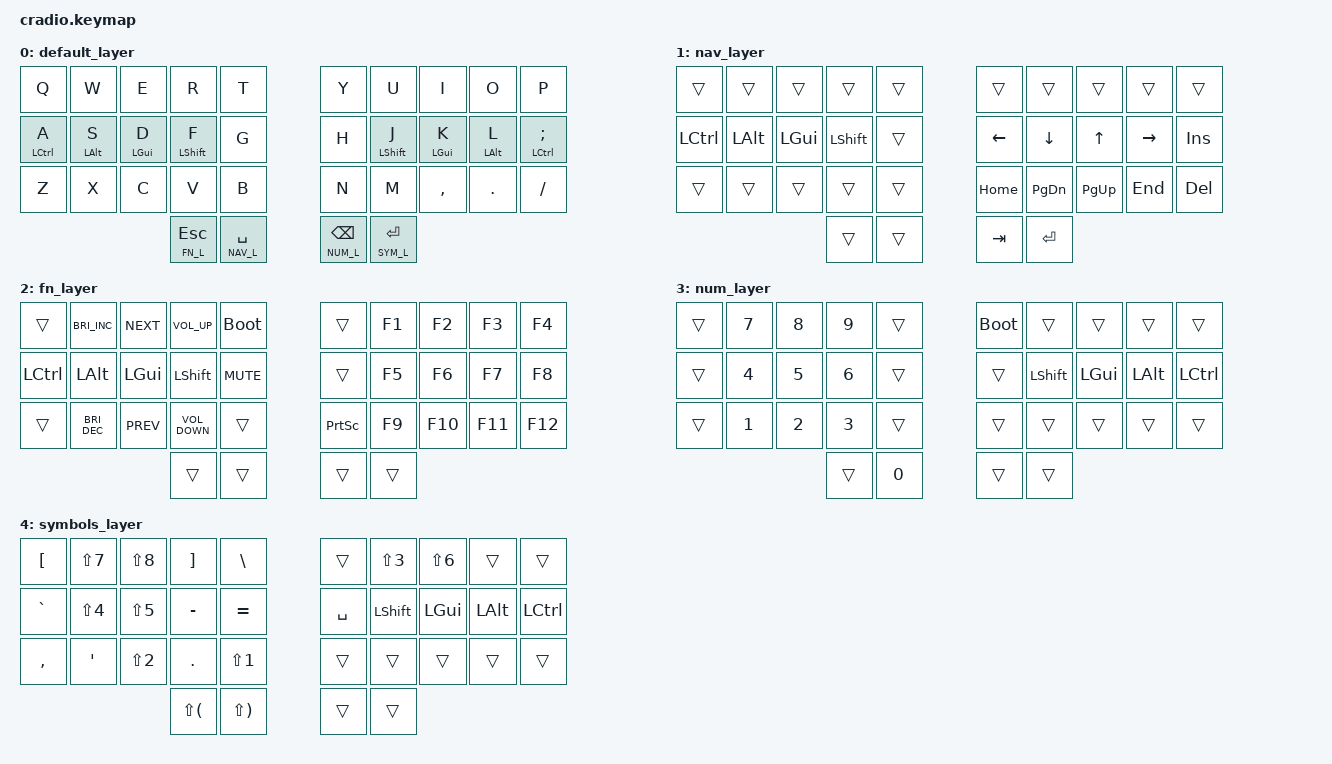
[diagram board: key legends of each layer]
// Copyright (c) 2022 The ZMK Contributors
// SPDX-License-Identifier: MIT

#include <behaviors.dtsi>
#include <dt-bindings/zmk/keys.h>

// Home row mods macro

#define NAV_L 1
#define FN_L 2
#define NUM_L 3
#define SYM_L 4

/ {
    behaviors {
        hm: homerow_mods {
            compatible = "zmk,behavior-hold-tap";
            #binding-cells = <2>;
            tapping-term-ms = <220>;
            flavor = "tap-preferred";
            bindings = <&kp>, <&kp>;
        };
    };

    combos {
        compatible = "zmk,combos";

        ye {
            bindings = <&kp SQT>;
            key-positions = <1 2>;
            timeout-ms = <40>;
            layers = <0>;
        };

        yo {
            bindings = <&kp GRAVE>;
            key-positions = <0 1>;
            layers = <0>;
            timeout-ms = <40>;
        };

        h {
            bindings = <&kp LEFT_BRACKET>;
            key-positions = <7 8>;
            timeout-ms = <40>;
            layers = <0>;
        };

        b {
            bindings = <&kp RIGHT_BRACKET>;
            key-positions = <8 9>;
            timeout-ms = <40>;
            layers = <0>;
        };
    };

    keymap {
        compatible = "zmk,keymap";

        default_layer {
            bindings = <
&kp Q        &kp W       &kp E       &kp R         &kp T              &kp Y           &kp U            &kp I       &kp O       &kp P
&hm LCTRL A  &hm LALT S  &hm LGUI D  &hm LSHFT F   &kp G              &kp H           &hm LSHFT J      &hm LGUI K  &hm LALT L  &hm LCTRL SEMI
&kp Z        &kp X       &kp C       &kp V         &kp B              &kp N           &kp M            &kp COMMA   &kp DOT     &kp FSLH
                                     &lt FN_L ESC  &lt NAV_L SPACE    &lt NUM_L BSPC  &lt SYM_L ENTER
            >;
        };

        nav_layer {
            bindings = <
&trans     &trans    &trans    &trans      &trans    &trans    &trans     &trans     &trans     &trans
&kp LCTRL  &kp LALT  &kp LGUI  &kp LSHIFT  &trans    &kp LEFT  &kp DOWN   &kp UP     &kp RIGHT  &kp INS
&trans     &trans    &trans    &trans      &trans    &kp HOME  &kp PG_DN  &kp PG_UP  &kp END    &kp DEL
                               &trans      &trans    &kp TAB   &kp ENTER
            >;
        };

        fn_layer {
            bindings = <
&trans     &kp C_BRIGHTNESS_INC  &kp K_NEXT  &kp C_VOLUME_UP    &bootloader    &trans           &kp F1  &kp F2   &kp F3   &kp F4
&kp LCTRL  &kp LALT              &kp LGUI    &kp LSHIFT         &kp K_MUTE     &trans           &kp F5  &kp F6   &kp F7   &kp F8
&trans     &kp C_BRIGHTNESS_DEC  &kp K_PREV  &kp C_VOLUME_DOWN  &trans         &kp PRINTSCREEN  &kp F9  &kp F10  &kp F11  &kp F12
                                             &trans             &trans         &trans           &trans
            >;
        };

        num_layer {
            bindings = <
&trans  &kp N7  &kp N8  &kp N9  &trans    &bootloader  &trans      &trans    &trans    &trans
&trans  &kp N4  &kp N5  &kp N6  &trans    &trans       &kp LSHIFT  &kp LGUI  &kp LALT  &kp LCTRL
&trans  &kp N1  &kp N2  &kp N3  &trans    &trans       &trans      &trans    &trans    &trans
                        &trans  &kp N0    &trans       &trans
            >;
        };

        symbols_layer {
            bindings = <
&kp LEFT_BRACKET  &kp LS(N7)  &kp LS(N8)  &kp RIGHT_BRACKET         &kp BACKSLASH                &trans     &kp LS(N3)  &kp LS(N6)  &trans    &trans
&kp GRAVE         &kp LS(N4)  &kp LS(N5)  &kp MINUS                 &kp EQUAL                    &kp SPACE  &kp LSHIFT  &kp LGUI    &kp LALT  &kp LEFT_CONTROL
&kp COMMA         &kp SQT     &kp LS(N2)  &kp PERIOD                &kp LS(N1)                   &trans     &trans      &trans      &trans    &trans
                                          &kp LS(LEFT_PARENTHESIS)  &kp LS(RIGHT_PARENTHESIS)    &trans     &trans
            >;
        };
    };
};
